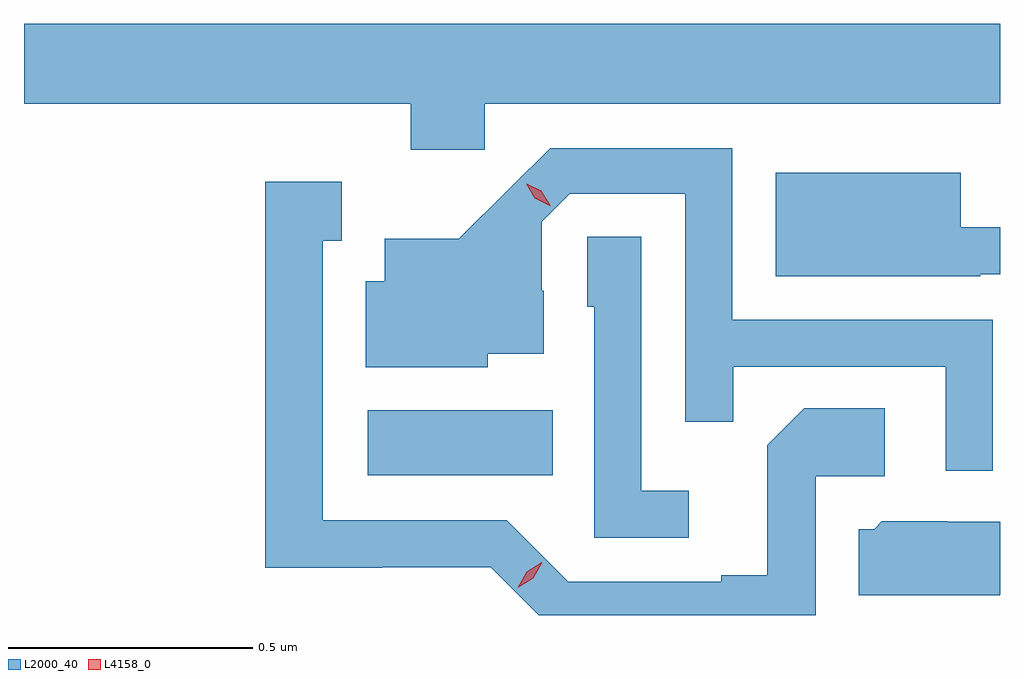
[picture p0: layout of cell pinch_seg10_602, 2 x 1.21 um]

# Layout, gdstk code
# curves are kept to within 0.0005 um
import gdstk
lib = gdstk.Library(unit=1e-6, precision=1e-09)
def R(c, l, rs):  # rectangles x0, y0, x1, y1
    for r in rs: c.add(gdstk.rectangle(r[:2], r[2:], *l))
def P(c, l, *ps):  # polygons
    for p in ps: c.add(gdstk.Polygon(p, *l))
L2000_40 = (2000, 40)
L4158_0 = (4158, 0)

pinch_seg10_602 = lib.new_cell('pinch_seg10_602')
R(pinch_seg10_602, L2000_40, [(354.048,1272.914,354.428,1273.048)])
P(pinch_seg10_602, L2000_40, [(354.288,1273.676),(355.344,1273.676),(355.344,1273.84),(353.344,1273.84),(353.344,1273.676),(354.137,1273.676),(354.137,1273.581),(354.288,1273.581)],
  [(355.329,1273.233),(354.795,1273.233),(354.795,1273.584),(354.422,1273.584),(354.235,1273.399),(354.083,1273.399),(354.083,1273.312),(354.044,1273.312),(354.044,1273.136),(354.294,1273.136),(354.294,1273.163),(354.409,1273.163),(354.409,1273.292),(354.405,1273.292),(354.405,1273.434),(354.462,1273.491),(354.699,1273.491),(354.699,1273.024),(354.797,1273.024),(354.797,1273.137),(355.233,1273.137),(355.233,1272.924),(355.329,1272.924)],
  [(355.304,1273.326),(355.344,1273.326),(355.344,1273.423),(355.264,1273.423),(355.264,1273.534),(354.884,1273.534),(354.884,1273.322),(355.304,1273.322)],
  [(354.966,1272.912),(355.108,1272.912),(355.108,1273.052),(354.943,1273.052),(354.867,1272.976),(354.867,1272.709),(354.773,1272.709),(354.773,1272.696),(354.459,1272.696),(354.333,1272.822),(353.956,1272.822),(353.956,1273.395),(353.995,1273.395),(353.995,1273.516),(353.838,1273.516),(353.838,1272.725),(354.078,1272.725),(354.078,1272.726),(354.3,1272.726),(354.399,1272.627),(354.966,1272.627)],
  [(354.706,1272.883),(354.609,1272.883),(354.609,1273.403),(354.498,1273.403),(354.498,1273.26),(354.513,1273.26),(354.513,1272.786),(354.706,1272.786)],
  [(355.344,1272.669),(355.344,1272.819),(355.236,1272.819),(355.236,1272.82),(355.102,1272.82),(355.086,1272.804),(355.055,1272.804),(355.055,1272.668),(355.343,1272.668)])
P(pinch_seg10_602, L4158_0, [(354.421,1273.467),(354.391,1273.482),(354.373,1273.512),(354.373,1273.512),(354.374,1273.512),(354.404,1273.497),(354.422,1273.468),(354.422,1273.467)],
  [(354.356,1272.684),(354.356,1272.684),(354.374,1272.717),(354.405,1272.736),(354.406,1272.736),(354.406,1272.736),(354.388,1272.703),(354.356,1272.684)])

lib.write_gds('pinch_seg10_602.gds')
